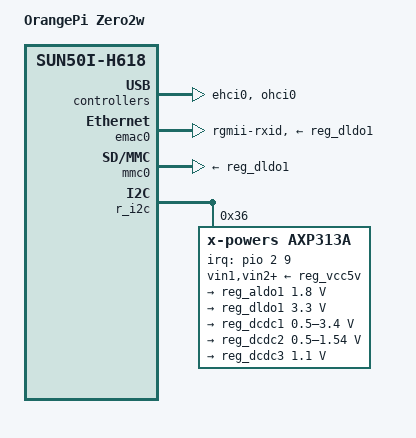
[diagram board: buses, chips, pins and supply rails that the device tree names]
// SPDX-License-Identifier: (GPL-2.0+ OR MIT)
/*
 * Copyright (C) 2023 Arm Ltd.
 */

/dts-v1/;

#include "sun50i-h616-orangepi-zero.dtsi"

/ {
	model = "OrangePi Zero2w";
	compatible = "xunlong,orangepi-zero2w", "allwinner,sun50i-h618";
};

&ehci0 {
	status = "okay";
};

&emac0 {
	allwinner,tx-delay-ps = <700>;
	phy-mode = "rgmii-rxid";
	phy-supply = <&reg_dldo1>;
};

&ext_rgmii_phy {
	motorcomm,clk-out-frequency-hz = <125000000>;
};

&mmc0 {
	/*
	 * The schematic shows the card detect pin wired up to PF6, via an
	 * inverter, but it just doesn't work.
	 */
	broken-cd;
	vmmc-supply = <&reg_dldo1>;
};

&ohci0 {
	status = "okay";
};

&r_i2c {
	status = "okay";

	axp313a: pmic@36 {
		compatible = "x-powers,axp313a";
		status = "okay";
		reg = <0x36>;
		wakeup-source;
		#interrupt-cells = <1>;
		interrupt-controller;
		interrupt-parent = <&pio>;
		interrupts = <2 9 IRQ_TYPE_LEVEL_LOW>;	/* PC9 */

		vin1-supply = <&reg_vcc5v>;
		vin2-supply = <&reg_vcc5v>;
		vin3-supply = <&reg_vcc5v>;

		standby_param: standby_param {
			vcc-dram = <0x4>;
		};

		regulators {
			/* Supplies VCC-PLL, so needs to be always on. */
			reg_aldo1: aldo1 {
				#regulator-always-on;
				#regulator-min-microvolt = <1800000>;
				#regulator-max-microvolt = <1800000>;
				#regulator-name = "vcc1v8";
				regulator-name = "axp313a-aldo1";
				regulator-min-microvolt = <1800000>;
				regulator-max-microvolt = <1800000>;
				regulator-step-delay-us = <25>;
				regulator-final-delay-us = <50>;
				regulator-always-on;
			};

			/* Supplies VCC-IO, so needs to be always on. */
			reg_dldo1: dldo1 {
				#regulator-always-on;
				#regulator-min-microvolt = <3300000>;
				#regulator-max-microvolt = <3300000>;
				#regulator-name = "vcc3v3";
				regulator-name = "axp313a-dldo1";
				regulator-min-microvolt = <3300000>;
				regulator-max-microvolt = <3300000>;
				regulator-step-delay-us = <25>;
				regulator-final-delay-us = <50>;
				regulator-always-on;

				
			};

			reg_dcdc1: dcdc1 {
				#regulator-always-on;
				#regulator-min-microvolt = <810000>;
				#regulator-max-microvolt = <990000>;
				#regulator-name = "vdd-gpu-sys";

				regulator-name = "axp313a-dcdc1";
				regulator-min-microvolt = <500000>;
				regulator-max-microvolt = <3400000>;
				regulator-step-delay-us = <25>;
				regulator-final-delay-us = <50>;
				regulator-always-on;
			};

			reg_dcdc2: dcdc2 {
				#regulator-always-on;
				#regulator-min-microvolt = <810000>;
				#regulator-max-microvolt = <1100000>;
				#regulator-name = "vdd-cpu";

				regulator-name = "axp313a-dcdc2";
				regulator-min-microvolt = <500000>;
				regulator-max-microvolt = <1540000>;
				regulator-step-delay-us = <25>;
				regulator-final-delay-us = <50>;
				regulator-ramp-delay = <200>;
				regulator-always-on;
			};

			reg_dcdc3: dcdc3 {
				#regulator-always-on;
				#regulator-min-microvolt = <1100000>;
				#regulator-max-microvolt = <1100000>;
				#regulator-name = "vdd-dram";

				regulator-name = "axp313a-dcdc3";
				regulator-min-microvolt = <1100000>;
				regulator-max-microvolt = <1100000>;
				regulator-step-delay-us = <25>;
				regulator-final-delay-us = <50>;
				regulator-always-on;
			};
		};
	};
};

&pio {
	vcc-pc-supply = <&reg_dldo1>;
	vcc-pf-supply = <&reg_dldo1>;
	vcc-pg-supply = <&reg_aldo1>;
	vcc-ph-supply = <&reg_dldo1>;
	vcc-pi-supply = <&reg_dldo1>;
};
